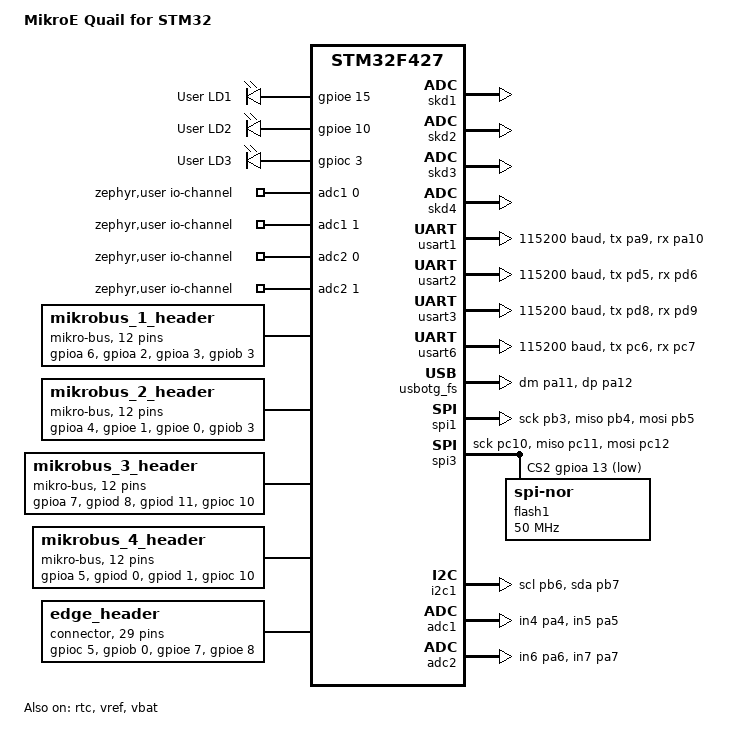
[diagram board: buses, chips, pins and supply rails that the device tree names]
/*
 * Copyright (c) 2025 ThoseBoards
 *
 * SPDX-License-Identifier: Apache-2.0
 */

/dts-v1/;
#include <st/f4/stm32f427vi.dtsi>
#include <st/f4/stm32f427v(g-i)tx-pinctrl.dtsi>
#include <zephyr/dt-bindings/input/input-event-codes.h>

/ {
	model = "MikroE Quail for STM32";
	compatible = "mikroe,stm32-e427", "st,stm32f427";

	chosen {
		zephyr,sram = &sram0;
		zephyr,flash = &flash0;
		zephyr,flash-controller = &flash1;
		zephyr,ccm = &ccm0;
	};

	leds {
		compatible = "gpio-leds";

		ld1: led_1 {
			gpios = <&gpioe 15 GPIO_ACTIVE_HIGH>;
			label = "User LD1";
		};

		ld2: led_2 {
			gpios = <&gpioe 10 GPIO_ACTIVE_HIGH>;
			label = "User LD2";
		};

		ld3: led_3 {
			gpios = <&gpioc 3 GPIO_ACTIVE_HIGH>;
			label = "User LD3";
		};
	};

	zephyr,user {
		io-channels = <&adc1 0>, <&adc1 1>, <&adc2 0>, <&adc2 1>;
	};

	mikrobus_1_header: mikrobus-connector-1 {
		compatible = "mikro-bus";
		#gpio-cells = <2>;
		gpio-map-mask = <0xffffffff 0xffffffc0>;
		gpio-map-pass-thru = <0 0x3f>;
		gpio-map = <0 0 &gpioa 6 0>,	/* AN  */
			   <1 0 &gpioa 2 0>,	/* RST */
			   <2 0 &gpioa 3 0>,	/* CS   */
			   <3 0 &gpiob 3 0>,	/* SCK  */
			   <4 0 &gpiob 4 0>,	/* MISO */
			   <5 0 &gpiob 5 0>,	/* MOSI */
			   /* +3.3V */
			   /* GND */
			   <6 0 &gpioe 9 0>,	/* PWM  */
			   <7 0 &gpioa 1 0>,	/* INT  */
			   <8 0 &gpiod 9 0>,	/* RX   */
			   <9 0 &gpiod 8 0>,	/* TX   */
			   <10 0 &gpiob 6 0>,	/* SCL  */
			   <11 0 &gpiob 7 0>;	/* SDA  */
		/* +5V */
		/* GND */
	};

	mikrobus_2_header: mikrobus-connector-2 {
		compatible = "mikro-bus";
		#gpio-cells = <2>;
		gpio-map-mask = <0xffffffff 0xffffffc0>;
		gpio-map-pass-thru = <0 0x3f>;
		gpio-map = <0 0 &gpioa 4 0>,	/* AN  */
			   <1 0 &gpioe 1 0>,	/* RST */
			   <2 0 &gpioe 0 0>,	/* CS   */
			   <3 0 &gpiob 3 0>,	/* SCK  */
			   <4 0 &gpiob 4 0>,	/* MISO */
			   <5 0 &gpiob 5 0>,	/* MOSI */
			   /* +3.3V */
			   /* GND */
			   <6 0 &gpiod 15 0>,	/* PWM  */
			   <7 0 &gpiob 9 0>,	/* INT  */
			   <8 0 &gpiod 6 0>,	/* RX   */
			   <9 0 &gpiod 5 0>,	/* TX   */
			   <10 0 &gpiob 6 0>,	/* SCL  */
			   <11 0 &gpiob 7 0>;	/* SDA  */
		/* +5V */
		/* GND */
	};

	mikrobus_3_header: mikrobus-connector-3 {
		compatible = "mikro-bus";
		#gpio-cells = <2>;
		gpio-map-mask = <0xffffffff 0xffffffc0>;
		gpio-map-pass-thru = <0 0x3f>;
		gpio-map = <0 0 &gpioa 7 0>,	/* AN  */
			   <1 0 &gpiod 8 0>,	/* RST */
			   <2 0 &gpiod 11 0>,	/* CS   */
			   <3 0 &gpioc 10 0>,	/* SCK  */
			   <4 0 &gpioc 11 0>,	/* MISO */
			   <5 0 &gpioc 12 0>,	/* MOSI */
			   /* +3.3V */
			   /* GND */
			   <6 0 &gpiod 13 0>,	/* PWM  */
			   <7 0 &gpioc 8 0>,	/* INT  */
			   <8 0 &gpioc 7 0>,	/* RX   */
			   <9 0 &gpioc 6 0>,	/* TX   */
			   <10 0 &gpiob 6 0>,	/* SCL  */
			   <11 0 &gpiob 7 0>;	/* SDA  */
		/* +5V */
		/* GND */
	};

	mikrobus_4_header: mikrobus-connector-4 {
		compatible = "mikro-bus";
		#gpio-cells = <2>;
		gpio-map-mask = <0xffffffff 0xffffffc0>;
		gpio-map-pass-thru = <0 0x3f>;
		gpio-map = <0 0 &gpioa 5 0>,	/* AN  */
			   <1 0 &gpiod 0 0>,	/* RST */
			   <2 0 &gpiod 1 0>,	/* CS   */
			   <3 0 &gpioc 10 0>,	/* SCK  */
			   <4 0 &gpioc 11 0>,	/* MISO */
			   <5 0 &gpioc 12 0>,	/* MOSI */
			   /* +3.3V */
			   /* GND */
			   <6 0 &gpiod 14 0>,	/* PWM  */
			   <7 0 &gpioa 14 0>,	/* INT  */
			   <8 0 &gpioa 10 0>,	/* RX   */
			   <9 0 &gpioa 9 0>,	/* TX   */
			   <10 0 &gpiob 6 0>,	/* SCL  */
			   <11 0 &gpiob 7 0>;	/* SDA  */
		/* +5V */
		/* GND */
	};

	edge_header: connector {
		#gpio-cells = <2>;
		gpio-map-mask = <0xffffffff 0xffffffc0>;
		gpio-map-pass-thru = <0 0x3f>;
		gpio-map = <0 0 &gpioc 5 0>,	/* ,PC5 */
			   <1 0 &gpiob 0 0>,	/* ,PB0 */
			   <2 0 &gpioe 7 0>,	/* ,PE7 */
			   <3 0 &gpioe 8 0>,	/* ,PE8 */
			   <4 0 &gpioe 11 0>,	/* ,PE11 */
			   <5 0 &gpioc 4 0>,	/* ,PC4 */
			   <6 0 &gpioe 13 0>,	/* ,PE13 */
			   <7 0 &gpioe 14 0>,	/* ,PE14 */
			   <8 0 &gpiob 10 0>,	/* ,PB10 */
			   <9 0 &gpiob 11 0>,	/* ,PB11 */
			   <10 0 &gpiob 12 0>,	/* ,PB12 */
			   <11 0 &gpiob 13 0>,	/* ,PB13 */
			   <12 0 &gpiob 6 0>,	/* ,PB6 # I2C1 */
			   <13 0 &gpiob 7 0>,	/* ,PB7 # I2C1 */
			   <14 0 &gpioc 10 0>,	/* ,PC10 # SPI3 */
			   <15 0 &gpioc 11 0>,	/* ,PC11 # SPI3 */
			   <16 0 &gpioc 12 0>,	/* ,PC12 # SPI3 */
			   <17 0 &gpiod 10 0>,	/* ,PD10 # SPI3 */
			   <18 0 &gpioa 15 0>,	/* ,PA15 */
			   <19 0 &gpioc 13 0>,	/* ,PC13 */
			   <20 0 &gpioe 6 0>,	/* ,PE6 */
			   <21 0 &gpioe 5 0>,	/* ,PE5 */
			   <22 0 &gpiod 2 0>,	/* ,PD2 */
			   <23 0 &gpiod 3 0>,	/* ,PD3 */
			   <24 0 &gpiod 4 0>,	/* ,PD4 */
			   <25 0 &gpiod 7 0>,	/* ,PD7 */
			   <26 0 &gpioe 2 0>,	/* ,PE2 */
			   <27 0 &gpioe 3 0>,	/* ,PE3 */
			   <28 0 &gpioe 4 0>;	/* ,PE4 */
	};

	aliases {
		led0 = &ld1;
		led1 = &ld2;
		led2 = &ld3;
		volt-sensor0 = &vref;
		volt-sensor1 = &vbat;
	};

	skd1: socket_1_adc {
		status = "okay";
		io-channels = <&adc2 0>;
	};

	skd2: socket_2_adc {
		status = "okay";
		io-channels = <&adc1 0>;
	};

	skd3: socket_3_adc {
		status = "okay";
		io-channels = <&adc2 1>;
	};

	skd4: socket_4_adc {
		status = "okay";
		io-channels = <&adc1 1>;
	};
};

&clk_lsi {
	status = "okay";
};

&clk_hsi {
	clock-frequency = <DT_FREQ_M(16)>;
	status = "okay";
};

&pll {
	div-m = <8>;
	mul-n = <96>;
	div-p = <2>;
	div-q = <4>;
	clocks = <&clk_hsi>;
	status = "okay";
};

&rcc {
	clocks = <&pll>;
	clock-frequency = <DT_FREQ_M(96)>;
	ahb-prescaler = <1>;
	apb1-prescaler = <4>;
	apb2-prescaler = <2>;
};

&usart1 {
	pinctrl-0 = <&usart1_tx_pa9 &usart1_rx_pa10>;
	pinctrl-names = "default";
	current-speed = <115200>;
	status = "okay";
};

&usart2 {
	pinctrl-0 = <&usart2_tx_pd5 &usart2_rx_pd6>;
	pinctrl-names = "default";
	current-speed = <115200>;
	status = "okay";
};

&usart3 {
	pinctrl-0 = <&usart3_tx_pd8 &usart3_rx_pd9>;
	pinctrl-names = "default";
	current-speed = <115200>;
	status = "okay";
};

&usart6 {
	pinctrl-0 = <&usart6_tx_pc6 &usart6_rx_pc7>;
	pinctrl-names = "default";
	current-speed = <115200>;
	status = "okay";
};

&rtc {
	clocks = <&rcc STM32_CLOCK(APB1, 28)>,
		 <&rcc STM32_SRC_LSI RTC_SEL(2)>;
	status = "okay";
};

zephyr_udc0: &usbotg_fs {
	pinctrl-0 = <&usb_otg_fs_dm_pa11 &usb_otg_fs_dp_pa12>;
	pinctrl-names = "default";
	status = "okay";
};

#include <../boards/common/usb/cdc_acm_serial.dtsi>

&spi1 {
	pinctrl-0 = <&spi1_sck_pb3 &spi1_miso_pb4 &spi1_mosi_pb5>;
	pinctrl-names = "default";
	cs-gpios = <&gpioa 3 GPIO_ACTIVE_LOW>, <&gpioe 0 GPIO_ACTIVE_LOW>;
	status = "okay";
};

&spi3 {
	status = "okay";
	pinctrl-0 = <&spi3_sck_pc10 &spi3_miso_pc11 &spi3_mosi_pc12>;
	pinctrl-names = "default";

	cs-gpios = <&gpiod 11 GPIO_ACTIVE_LOW>,    // CS0
		   <&gpiod 1 GPIO_ACTIVE_LOW>,     // CS1
		   <&gpioa 13 GPIO_ACTIVE_LOW>;    // CS2
};

/* Flash chip 1 (extra flash connected to CS2) */
&spi3 {
	flash1: flash@2 {
		compatible = "jedec,spi-nor"; // Typical flash chip compatibility string
		reg = <2>; // The CS0 pin on the SPI bus
		// S25FL164K flash's actual JEDEC: Device ID = 16h, Device Type = 40h,
		// Capacity = 17h
		//jedec-id = [16 40 17];
		jedec-id = [01 60 17];
		spi-max-frequency = <50000000>; // Max frequency for the flash chip (e.g., 50 MHz)
		size = <0x800000>;  // Flash memory size (16MB example)
		page-size = <256>;  // Flash page size (usually 256 or 512 bytes)
		status = "okay";
	};
};

&i2c1 {
	pinctrl-0 = <&i2c1_scl_pb6 &i2c1_sda_pb7>;
	pinctrl-names = "default";
	status = "okay";
};

&adc1 {
	status = "okay";
	pinctrl-0 = <&adc1_in4_pa4 &adc1_in5_pa5>;
	pinctrl-names = "default";
	st,adc-clock-source = "SYNC";
	st,adc-prescaler = <2>;
};

&adc2 {
	status = "okay";
	pinctrl-0 = <&adc2_in6_pa6 &adc2_in7_pa7>;
	pinctrl-names = "default";
	st,adc-clock-source = "SYNC";
	st,adc-prescaler = <2>;
};

&vref {
	status = "okay";
};

&vbat {
	status = "okay";
};

mikrobus_1_adc: &skd1 {};

mikrobus_1_i2c: &i2c1 {};

mikrobus_1_spi: &spi1 {};

mikrobus_1_uart: &usart3 {};

mikrobus_2_adc: &skd2 {};

mikrobus_2_i2c: &i2c1 {};

mikrobus_2_spi: &spi1 {};

mikrobus_2_uart: &usart2 {};

mikrobus_3_adc: &skd3 {};

mikrobus_3_i2c: &i2c1 {};

mikrobus_3_spi: &spi3 {};

mikrobus_3_uart: &usart6 {};

mikrobus_4_adc: &skd4 {};

mikrobus_4_i2c: &i2c1 {};

mikrobus_4_spi: &spi3 {};

mikrobus_4_uart: &usart1 {};

mikrobus_adc: &skd1 {};

mikrobus_i2c: &i2c1 {};

mikrobus_spi: &spi1 {};

mikrobus_uart: &usart3 {};

mikrobus_header: &mikrobus_1_header {};
